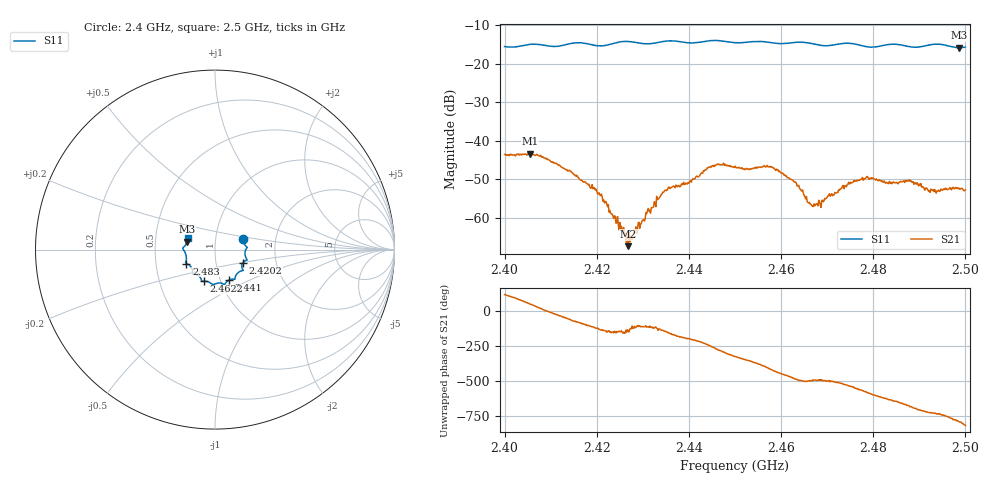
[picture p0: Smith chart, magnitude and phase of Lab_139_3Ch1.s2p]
# Hz S RI R 50
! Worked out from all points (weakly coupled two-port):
!   601 points, 2.4 GHz to 2.5 GHz, reference 50 ohm
!   highest |S21| = -43.35 dB at 2.4055 GHz (marker M1); lowest = -67.3 dB at 2.4268 GHz (marker M2)
!   lowest |S11| = -15.8 dB at 2.4987 GHz (marker M3), VSWR 1.39, Z = 36.4 + j3.32 ohm
!   |S11| at or under -10 dB: start of sweep to end of sweep
!   S12 and S22 are empty: the file has one direction only
!   S11 on the Smith chart (normalised r, x): 2.4 GHz: 1.36, +0.17; 2.4202 GHz: 1.35, -0.20; 2.441 GHz: 1.09, -0.39; 2.4622 GHz: 0.83, -0.30; 2.483 GHz: 0.72, -0.12; 2.5 GHz: 0.73, +0.09
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2.4e9  0.1564 0.0602  -0.00336 0.00576  0 0  0 0
2.4055e9  0.1785 0.0141  0.00419 0.00536  0 0  0 0
2.4115e9  0.167 -0.0247  0.00437 -0.00225  0 0  0 0
2.416667e9  0.1779 -0.0582  7.25e-05 -0.00311  0 0  0 0
2.420167e9  0.1557 -0.0721  -0.00109 -0.00174  0 0  0 0
2.426833e9  0.1563 -0.1166  -0.000341 -0.000261  0 0  0 0
2.433333e9  0.1129 -0.1525  -0.00127 -0.00121  0 0  0 0
2.435333e9  0.1114 -0.1638  -0.00199 -0.0012  0 0  0 0
2.441e9  0.0766 -0.1704  -0.00286 0.0014  0 0  0 0
2.445667e9  0.0528 -0.1941  -0.000566 0.00482  0 0  0 0
2.45e9  0.0262 -0.1861  0.00375 0.00284  0 0  0 0
2.4575e9  -0.0213 -0.1884  0.00289 -0.00362  0 0  0 0
2.462167e9  -0.0635 -0.1764  -0.00122 -0.00294  0 0  0 0
2.466667e9  -0.0763 -0.1667  -0.00111 -0.000934  0 0  0 0
2.468833e9  -0.0864 -0.1499  -0.00109 -0.00129  0 0  0 0
2.477167e9  -0.1249 -0.1214  -0.00292 0.00116  0 0  0 0
2.483e9  -0.159 -0.0781  -0.000129 0.00286  0 0  0 0
2.483333e9  -0.1606 -0.0775  0.000102 0.00278  0 0  0 0
2.487667e9  -0.1595 -0.0522  0.00214 0.00214  0 0  0 0
2.494e9  -0.18 0.0069  0.00217 -0.000494  0 0  0 0
2.498667e9  -0.1555 0.0444  0.000767 -0.0023  0 0  0 0
2.5e9  -0.1528 0.0632  -0.000292 -0.00229  0 0  0 0
